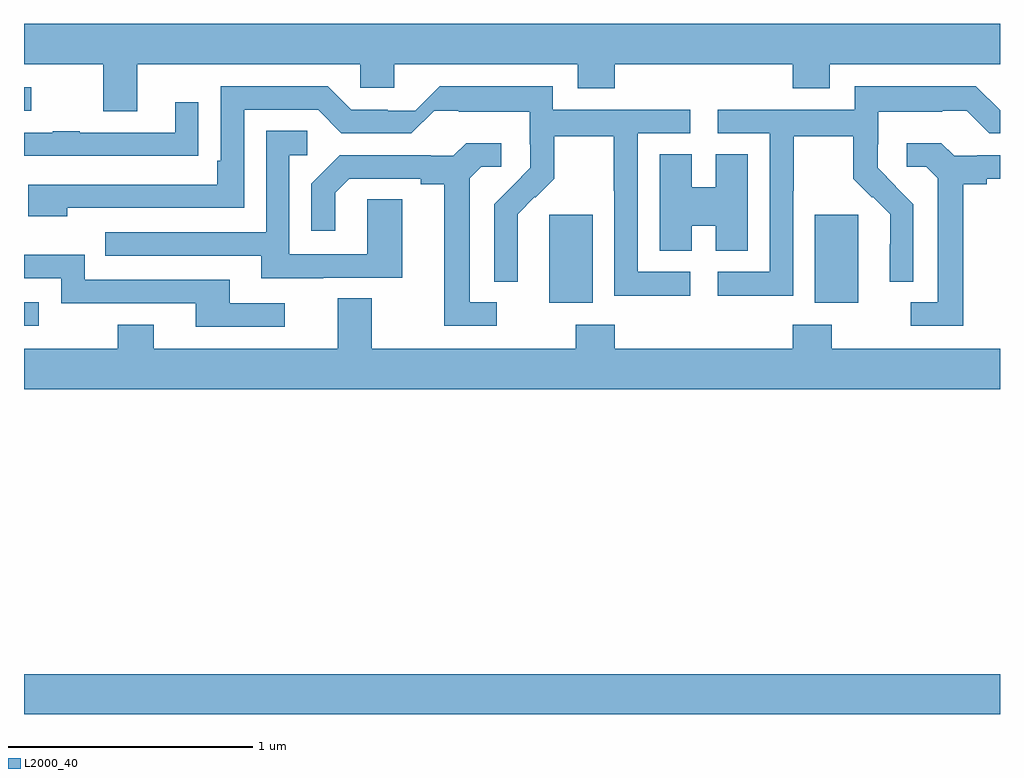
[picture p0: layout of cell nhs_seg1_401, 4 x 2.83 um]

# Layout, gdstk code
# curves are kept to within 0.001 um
import gdstk
lib = gdstk.Library(unit=1e-6, precision=1e-09)
def R(c, l, rs):  # rectangles x0, y0, x1, y1
    for r in rs: c.add(gdstk.rectangle(r[:2], r[2:], *l))
def P(c, l, *ps):  # polygons
    for p in ps: c.add(gdstk.Polygon(p, *l))
L2000_40 = (2000, 40)

nhs_seg1_401 = lib.new_cell('nhs_seg1_401')
R(nhs_seg1_401, L2000_40, [(133,538.412,137,538.576), (133,540.003,133.06,540.099), (135.152,540.098,135.331,540.459), (136.241,540.098,136.42,540.459), (133,540.885,133.03,540.981)])
P(nhs_seg1_401, L2000_40, [(133.465,541.076),(134.379,541.076),(134.379,540.978),(134.518,540.978),(134.518,541.076),(135.269,541.076),(135.269,540.977),(135.422,540.977),(135.422,541.076),(136.151,541.076),(136.151,540.977),(136.303,540.977),(136.303,541.076),(137,541.076),(137,541.24),(133,541.24),(133,541.076),(133.325,541.076),(133.325,540.882),(133.465,540.882)],
  [(136.152,540.556),(136.155,540.556),(136.155,540.78),(136.399,540.78),(136.399,540.605),(136.476,540.528),(136.479,540.531),(136.55,540.461),(136.55,540.338),(136.548,540.338),(136.548,540.184),(136.644,540.184),(136.644,540.502),(136.498,540.65),(136.498,540.747),(136.5,540.747),(136.5,540.881),(136.763,540.881),(136.763,540.885),(136.863,540.885),(136.956,540.792),(137,540.792),(137,540.886),(136.901,540.985),(136.404,540.985),(136.404,540.888),(135.843,540.888),(135.843,540.792),(136.056,540.792),(136.056,540.225),(135.843,540.225),(135.843,540.127),(136.152,540.127)],
  [(135.73,540.225),(135.516,540.225),(135.516,540.792),(135.73,540.792),(135.73,540.888),(135.168,540.888),(135.168,540.985),(134.703,540.985),(134.603,540.885),(134.491,540.885),(134.491,540.888),(134.341,540.888),(134.245,540.984),(133.806,540.984),(133.806,540.679),(133.793,540.679),(133.793,540.582),(133.017,540.582),(133.017,540.452),(133.178,540.452),(133.178,540.486),(133.902,540.486),(133.902,540.888),(134.205,540.888),(134.301,540.792),(134.588,540.792),(134.681,540.885),(134.781,540.885),(134.781,540.881),(135.072,540.881),(135.072,540.747),(135.074,540.747),(135.074,540.65),(134.928,540.502),(134.928,540.184),(135.024,540.184),(135.023,540.461),(135.093,540.531),(135.096,540.528),(135.173,540.605),(135.173,540.78),(135.418,540.78),(135.418,540.556),(135.42,540.556),(135.42,540.127),(135.73,540.127)],
  [(133.613,540.7),(133.715,540.7),(133.715,540.919),(133.619,540.919),(133.619,540.795),(133.229,540.795),(133.229,540.8),(133.117,540.8),(133.117,540.795),(133,540.795),(133,540.699),(133.613,540.699)],
  [(134.227,540.201),(134.551,540.201),(134.551,540.521),(134.406,540.521),(134.406,540.297),(134.088,540.297),(134.088,540.702),(134.161,540.702),(134.161,540.803),(133.992,540.803),(133.992,540.387),(133.333,540.387),(133.333,540.291),(133.973,540.291),(133.973,540.197),(134.227,540.197)],
  [(136.849,540.584),(136.945,540.584),(136.945,540.606),(137,540.606),(137,540.702),(136.906,540.702),(136.906,540.699),(136.812,540.699),(136.76,540.751),(136.617,540.751),(136.617,540.654),(136.698,540.654),(136.745,540.607),(136.745,540.099),(136.635,540.099),(136.635,540.003),(136.849,540.003)],
  [(134.938,540.099),(134.827,540.099),(134.827,540.607),(134.874,540.654),(134.956,540.654),(134.956,540.751),(134.812,540.751),(134.76,540.699),(134.666,540.699),(134.666,540.702),(134.294,540.702),(134.178,540.586),(134.178,540.393),(134.275,540.393),(134.275,540.549),(134.332,540.606),(134.627,540.606),(134.627,540.584),(134.723,540.584),(134.723,540.003),(134.938,540.003)],
  [(135.736,540.413),(135.836,540.413),(135.836,540.31),(135.967,540.31),(135.967,540.707),(135.836,540.707),(135.836,540.571),(135.736,540.571),(135.736,540.707),(135.605,540.707),(135.605,540.31),(135.736,540.31)],
  [(134.068,540.096),(133.843,540.096),(133.843,540.192),(133.248,540.192),(133.248,540.295),(133,540.295),(133,540.198),(133.152,540.198),(133.152,540.096),(133.703,540.096),(133.703,540),(134.068,540)],
  [(137,539.908),(136.311,539.908),(136.311,540.007),(136.151,540.007),(136.151,539.908),(135.422,539.908),(135.422,540.007),(135.262,540.007),(135.262,539.908),(134.425,539.908),(134.425,540.116),(134.285,540.116),(134.285,539.908),(133.531,539.908),(133.531,540.007),(133.384,540.007),(133.384,539.908),(133,539.908),(133,539.744),(137,539.744)])

lib.write_gds('nhs_seg1_401.gds')
